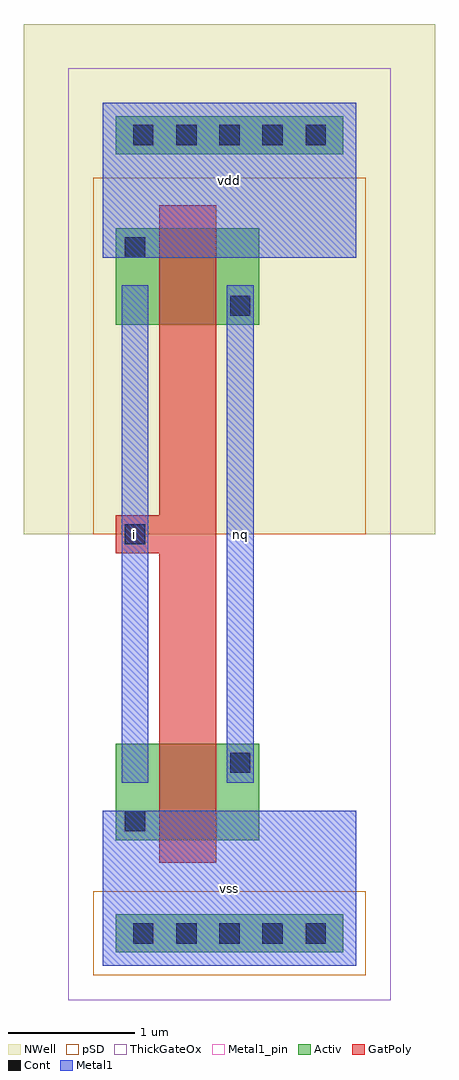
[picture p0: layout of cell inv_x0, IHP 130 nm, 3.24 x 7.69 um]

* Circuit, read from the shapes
.subckt inv_x0 i nq vdd vss
XM1 nq i vss vss sg13_hv_nmos w=0.76u l=0.45u
XM2 nq i vdd vdd sg13_hv_pmos w=0.76u l=0.45u
.ends

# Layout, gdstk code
import gdstk
lib = gdstk.Library(unit=1e-6, precision=1e-09)
def R(c, l, rs):  # rectangles x0, y0, x1, y1
    for r in rs: c.add(gdstk.rectangle(r[:2], r[2:], *l))
def A(c, l, x, y, w, h, nx, ny, dx, dy):  # array of equal rectangles
    R(c, l, [(x+i*dx, y+j*dy, x+i*dx+w, y+j*dy+h) for i in range(nx) for j in range(ny)])
def P(c, l, *ps):  # polygons
    for p in ps: c.add(gdstk.Polygon(p, *l))
Activ = (1, 0)
GatPoly = (5, 0)
Cont = (6, 0)
Metal1 = (8, 0)
Metal1_pin = (8, 2)
pSD = (14, 0)
NWell = (31, 0)
ThickGateOx = (44, 0)

inv_x0 = lib.new_cell('inv_x0')
R(inv_x0, Activ, [(0.105,0.105,1.895,0.405), (0.105,0.99,1.235,1.75), (0.105,5.05,1.235,5.81), (0.105,6.395,1.895,6.695)])
P(inv_x0, GatPoly, [(0.445,0.81),(0.445,3.25),(0.105,3.25),(0.105,3.55),(0.445,3.55),(0.445,5.99),(0.895,5.99),(0.895,0.81)])
A(inv_x0, Cont, 0.24, 0.175, 0.16, 0.16, 5, 2, 0.34, 6.29)
A(inv_x0, Cont, 0.175, 1.06, 0.16, 0.16, 1, 3, 0, 2.26)
R(inv_x0, Cont, [(1.005,1.52,1.165,1.68), (1.005,5.12,1.165,5.28)])
R(inv_x0, Metal1, [(0,0,2,1.22), (0.15,1.44,0.36,5.36), (0.98,1.44,1.19,5.36), (0,5.58,2,6.8)])
R(inv_x0, Metal1_pin, [(0,0,2,1.22), (0.15,1.44,0.36,5.36), (0.98,1.44,1.19,5.36), (0,5.58,2,6.8)])
R(inv_x0, pSD, [(-0.075,-0.075,2.075,0.585), (-0.075,3.4,2.075,6.21)])
R(inv_x0, NWell, [(-0.62,3.4,2.62,7.42)])
R(inv_x0, ThickGateOx, [(-0.27,-0.27,2.27,7.07)])
inv_x0.add(gdstk.Label('vss', (1,0.61), layer=8, texttype=2))
inv_x0.add(gdstk.Label('vdd', (1,6.19), layer=8, texttype=2))
inv_x0.add(gdstk.Label('nq', (1.085,3.4), layer=8, texttype=2))
inv_x0.add(gdstk.Label('i', (0.255,3.4), layer=8, texttype=2))

lib.write_gds('inv_x0.gds')
